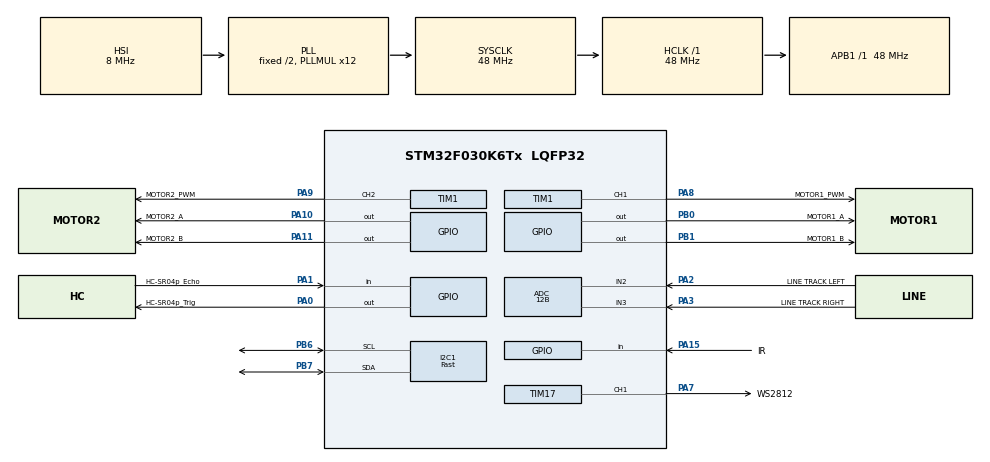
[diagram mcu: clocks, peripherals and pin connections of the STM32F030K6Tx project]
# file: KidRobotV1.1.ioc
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ADC.ContinuousConvMode=ENABLE
ADC.DMAContinuousRequests=ENABLE
ADC.Resolution=ADC_RESOLUTION_12B
ADC.SamplingTime=ADC_SAMPLETIME_71CYCLES_5
Dma.ADC.1.Direction=DMA_PERIPH_TO_MEMORY
Dma.ADC.1.Instance=DMA1_Channel2
Dma.ADC.1.MemDataAlignment=DMA_MDATAALIGN_HALFWORD
Dma.ADC.1.MemInc=DMA_MINC_ENABLE
Dma.ADC.1.Mode=DMA_CIRCULAR
Dma.ADC.1.PeriphDataAlignment=DMA_PDATAALIGN_HALFWORD
Dma.ADC.1.PeriphInc=DMA_PINC_DISABLE
Dma.ADC.1.Priority=DMA_PRIORITY_LOW
Dma.Request0=TIM17_CH1/UP
Dma.Request1=ADC
Dma.TIM17_CH1/UP.0.Direction=DMA_MEMORY_TO_PERIPH
Dma.TIM17_CH1/UP.0.Instance=DMA1_Channel1
Dma.TIM17_CH1/UP.0.MemDataAlignment=DMA_MDATAALIGN_HALFWORD
Dma.TIM17_CH1/UP.0.MemInc=DMA_MINC_ENABLE
Dma.TIM17_CH1/UP.0.Mode=DMA_NORMAL
Dma.TIM17_CH1/UP.0.PeriphDataAlignment=DMA_PDATAALIGN_HALFWORD
Dma.TIM17_CH1/UP.0.PeriphInc=DMA_PINC_DISABLE
Dma.TIM17_CH1/UP.0.Priority=DMA_PRIORITY_HIGH
I2C1.I2C_Speed_Mode=I2C_Fast
I2C1.OwnAddress=0x65
I2C1.Timing=0x2010091A
Mcu.Family=STM32F0
Mcu.Name=STM32F030K6Tx
Mcu.Package=LQFP32
NVIC.ADC1_IRQn=true\:0\:0\:false\:false\:true\:true\:true
NVIC.DMA1_Channel1_IRQn=true\:0\:0\:false\:false\:true\:false\:true
NVIC.DMA1_Channel2_3_IRQn=true\:0\:0\:false\:false\:true\:false\:true
NVIC.I2C1_IRQn=true\:0\:0\:false\:false\:true\:true\:true
NVIC.TIM17_IRQn=true\:0\:0\:false\:false\:true\:true\:true
NVIC.TIM3_IRQn=true\:0\:0\:false\:false\:true\:true\:true
PA0.GPIO_Label=HC-SR04p_Trig
PA0.Signal=GPIO_Output
PA1.GPIO_Label=HC-SR04p_Echo
PA1.GPIO_PuPd=GPIO_PULLDOWN
PA1.Signal=GPIO_Input
PA10.GPIO_Label=MOTOR2_A
PA10.Signal=GPIO_Output
PA11.GPIO_Label=MOTOR2_B
PA11.Signal=GPIO_Output
PA13.Mode=Serial_Wire
PA13.Signal=SYS_SWDIO
PA14.Mode=Serial_Wire
PA14.Signal=SYS_SWCLK
PA15.GPIO_Label=IR
PA15.GPIO_PuPd=GPIO_NOPULL
PA15.Signal=GPIO_Input
PA2.GPIO_Label=LINE TRACK LEFT
PA2.Mode=IN2
PA2.Signal=ADC_IN2
PA3.GPIO_Label=LINE TRACK RIGHT
PA3.Mode=IN3
PA3.Signal=ADC_IN3
PA7.GPIO_Label=WS2812
PA7.Signal=S_TIM17_CH1
PA8.GPIO_Label=MOTOR1_PWM
PA8.Signal=S_TIM1_CH1
PA9.GPIO_Label=MOTOR2_PWM
PA9.Signal=S_TIM1_CH2
PB0.GPIO_Label=MOTOR1_A
PB0.Signal=GPIO_Output
PB1.GPIO_Label=MOTOR1_B
PB1.Signal=GPIO_Output
PB6.Mode=I2C
PB6.Signal=I2C1_SCL
PB7.Mode=I2C
PB7.Signal=I2C1_SDA
ProjectManager.HeapSize=0x200
ProjectManager.StackSize=0x400
ProjectManager.TargetToolchain=MDK-ARM V5
RCC.AHBFreq_Value=48000000
RCC.APB1Freq_Value=48000000
RCC.APB1TimFreq_Value=48000000
RCC.HCLKFreq_Value=48000000
RCC.I2c1ClockSelection=RCC_I2C1CLKSOURCE_SYSCLK
RCC.PLLMUL=RCC_PLL_MUL12
RCC.SYSCLKFreq_VALUE=48000000
RCC.SYSCLKSource=RCC_SYSCLKSOURCE_PLLCLK
SH.S_TIM17_CH1.0=TIM17_CH1,PWM Generation1 CH1
SH.S_TIM1_CH1.0=TIM1_CH1,PWM Generation1 CH1
SH.S_TIM1_CH2.0=TIM1_CH2,PWM Generation2 CH2
TIM1.Channel-PWM\ Generation1\ CH1=TIM_CHANNEL_1
TIM1.Channel-PWM\ Generation2\ CH2=TIM_CHANNEL_2
TIM1.Period=100
TIM1.Prescaler=960-1
TIM17.AutoReloadPreload=TIM_AUTORELOAD_PRELOAD_ENABLE
TIM17.Channel=TIM_CHANNEL_1
TIM17.OCPolarity_1=TIM_OCPOLARITY_HIGH
TIM17.Period=60
TIM17.Pulse=60
TIM3.Channel-PWM\ Generation1\ No\ Output=TIM_CHANNEL_1
TIM3.Period=480
TIM3.Pulse-PWM\ Generation1\ No\ Output=480
VP_TIM17_VS_ClockSourceINT.Mode=Enable_Timer
VP_TIM3_VS_no_output1.Mode=PWM Generation1 No Output
board=custom

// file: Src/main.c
/* USER CODE BEGIN Header */
/**
  ******************************************************************************
  * @file           : main.c
  * @brief          : Main program body
  ******************************************************************************
  * @attention
  *
  * <h2><center>&copy; Copyright (c) 2019 STMicroelectronics.
  * All rights reserved.</center></h2>
  *
  * This software component is licensed by ST under BSD 3-Clause license,
  * the "License"; You may not use this file except in compliance with the
  * License. You may obtain a copy of the License at:
  *                        opensource.org/licenses/BSD-3-Clause
  *
  ******************************************************************************
  */
/* USER CODE END Header */

#include "main.h"

/* USER CODE BEGIN Includes */
#include <string.h>
/* USER CODE END Includes */

ADC_HandleTypeDef hadc;
DMA_HandleTypeDef hdma_adc;

I2C_HandleTypeDef hi2c1;

TIM_HandleTypeDef htim1;
TIM_HandleTypeDef htim3;
TIM_HandleTypeDef htim17;
DMA_HandleTypeDef hdma_tim17_ch1_up;

void SystemClock_Config(void);
static void MX_GPIO_Init(void);
static void MX_DMA_Init(void);
static void MX_I2C1_Init(void);
static void MX_TIM17_Init(void);
static void MX_TIM3_Init(void);
static void MX_TIM1_Init(void);
static void MX_ADC_Init(void);

/* USER CODE BEGIN 0 */
static void set_pwm(uint32_t, uint8_t) ;

static void ws2812b_set_color(int num, uint8_t r, uint8_t g, uint8_t b) ;
static void ws2812b_update(void) ;

#define WS2812B_NUMBER 6

struct {
	uint8_t r;
	uint8_t g;
	uint8_t b;
} ws2812b_data_color[WS2812B_NUMBER]; // 24 bit per 1 led
uint8_t ws2812b_sending_flag = 0;

uint8_t reg_offset = 0;
uint8_t reg_data[30];
uint8_t i2c_state = 0;

HAL_StatusTypeDef I2C_Slave_isr(struct __I2C_HandleTypeDef *hi2c, uint32_t ITFlags, uint32_t ITSources) {
	if (hi2c->Instance->ISR & (I2C_ISR_ADDR)) {
		/* Clear ADDR flag */
    __HAL_I2C_CLEAR_FLAG(hi2c, I2C_FLAG_ADDR);
	}

	if (hi2c->Instance->ISR & (I2C_ISR_RXNE)) {
		uint8_t data = hi2c->Instance->RXDR;
		if (i2c_state == 0) {
			reg_offset = data;
			i2c_state = 1;
		} else {
		  reg_data[reg_offset++] = hi2c->Instance->RXDR;
		}
	}

	if (hi2c->Instance->ISR & (I2C_ISR_TXIS)) {
		hi2c->Instance->TXDR = reg_data[reg_offset++];
	}

	if (reg_offset >= sizeof reg_data) {
		reg_offset = 0;
	}

	if (hi2c->Instance->ISR & (I2C_ISR_STOPF)) {
		__HAL_I2C_CLEAR_FLAG(hi2c, I2C_FLAG_STOPF);

    /* Clear ADDR flag */
    __HAL_I2C_CLEAR_FLAG(hi2c, I2C_FLAG_ADDR);

		// flush the transmit data register I2C_TXDR
		__HAL_I2C_CLEAR_FLAG(hi2c, I2C_FLAG_TXE);

		i2c_state = 0;
	}

	return HAL_OK;
}

// microsec
uint64_t microsec = 0;

// ADC state
static uint8_t i_loop = 0;

uint16_t adc_value[2] = { 0, 0 };

// IR
uint64_t ir_code = 0;
/* USER CODE END 0 */

int main(void)
{

  /* MCU Configuration--------------------------------------------------------*/

  /* Reset of all peripherals, Initializes the Flash interface and the Systick. */
  HAL_Init();

  /* Configure the system clock */
  SystemClock_Config();

  /* Initialize all configured peripherals */
  MX_GPIO_Init();
  MX_DMA_Init();
  MX_I2C1_Init();
  MX_TIM17_Init();
  MX_TIM3_Init();
  MX_TIM1_Init();
  MX_ADC_Init();
  /* USER CODE BEGIN 2 */

  // ====|| I2C Slave setup with interrupt ||====

  /* Enable Address Acknowledge */
  hi2c1.Instance->CR2 &= ~I2C_CR2_NACK;

  // Set isr function
  hi2c1.XferISR = I2C_Slave_isr;

  // Enable I2C interrup
  __HAL_I2C_ENABLE_IT(&hi2c1, I2C_IT_ADDRI | I2C_IT_STOPI | I2C_IT_TXI | I2C_IT_RXI);

  // ====|| END ||====

	// Start timer
	HAL_TIM_Base_Start_IT(&htim3);

	// Clean reg
	memset(reg_data, 0, sizeof reg_data);

	// Start ADC DMA
	HAL_ADC_Start_DMA(&hadc, (uint32_t*)adc_value, 2);

	HAL_Delay(100);

	// Reset WS2812B
	memset(ws2812b_data_color, 0, sizeof ws2812b_data_color);
	// ws2812b_update();
  /* USER CODE END 2 */

  /* Infinite loop */
  /* USER CODE BEGIN WHILE */
  while (1)
  {
		// Use to check MCU running
		i_loop++;

		// CH A
		HAL_GPIO_WritePin(MOTOR1_A_GPIO_Port, MOTOR1_A_Pin, reg_data[0] & 0x80 ? GPIO_PIN_SET : GPIO_PIN_RESET);
		HAL_GPIO_WritePin(MOTOR1_B_GPIO_Port, MOTOR1_B_Pin, reg_data[0] & 0x80 ? GPIO_PIN_RESET : GPIO_PIN_SET);
		set_pwm(TIM_CHANNEL_1, reg_data[0] & 0x7F);

		// CH B
		HAL_GPIO_WritePin(MOTOR2_A_GPIO_Port, MOTOR2_A_Pin, reg_data[1] & 0x80 ? GPIO_PIN_SET : GPIO_PIN_RESET);
		HAL_GPIO_WritePin(MOTOR2_B_GPIO_Port, MOTOR2_B_Pin, reg_data[1] & 0x80 ? GPIO_PIN_RESET : GPIO_PIN_SET);
		set_pwm(TIM_CHANNEL_2, reg_data[1] & 0x7F);

		// Write flag is set ?
		if ((ws2812b_sending_flag == 0) & (reg_data[14] & 0x01)) {
			ws2812b_set_color(0, reg_data[2], reg_data[3], reg_data[4]);
			ws2812b_set_color(1, reg_data[5], reg_data[6], reg_data[7]);
			ws2812b_set_color(2, reg_data[8], reg_data[9], reg_data[10]);
			ws2812b_set_color(3, reg_data[11], reg_data[12], reg_data[13]);
			ws2812b_update();
		} else if ((ws2812b_sending_flag == 1) & (reg_data[14] & 0x01)) {
		  // Set flag to low
			reg_data[14] &= ~(0x01);
		}

		// HC-SR04p
		static uint8_t hc_sr04_state = 0;
		static uint64_t start_microsec = 0, end_microsec = 0, start_wait_time = 0;
		if (reg_data[15] & 0x80) { // if trig flag is set
			if (hc_sr04_state == 0) {
				// Start trig
				HAL_GPIO_WritePin(HC_SR04p_Trig_GPIO_Port, HC_SR04p_Trig_Pin, 1);

				start_microsec = microsec;
				hc_sr04_state = 1;
			} else if (hc_sr04_state == 1) {
				if (microsec > (start_microsec + 10)) {
					// Set Trig to LOW
					HAL_GPIO_WritePin(HC_SR04p_Trig_GPIO_Port, HC_SR04p_Trig_Pin, 0);

					start_wait_time = microsec;
					hc_sr04_state = 2;
				}
			} else if (hc_sr04_state == 2) {
				if (HAL_GPIO_ReadPin(HC_SR04p_Echo_GPIO_Port, HC_SR04p_Echo_Pin) == 1) {
					start_microsec = microsec;
					hc_sr04_state = 3;
				} else {
					if (microsec > (start_wait_time + 100000)) { // over 100mS ?
						start_microsec = 0;
						end_microsec = 0;
						hc_sr04_state = 4;
					}
				}
			} else if (hc_sr04_state == 3) {
				if (HAL_GPIO_ReadPin(HC_SR04p_Echo_GPIO_Port, HC_SR04p_Echo_Pin) == 0) {
					end_microsec = microsec;
					hc_sr04_state = 4;
				} else {
					if (microsec > (start_microsec + 100000)) { // over 100mS ?
						start_microsec = 0;
						end_microsec = 0;
						hc_sr04_state = 4;
					}
				}
			} else if (hc_sr04_state == 4) {
				uint16_t distance = (float)(end_microsec - start_microsec) * 0.0173681 * 10.0;

				// Update in register
			  reg_data[15] = (reg_data[15]&0xF0)|(distance>>8);
				reg_data[16] = distance;

			  reg_data[15] &= ~(0x80);

				hc_sr04_state = 0;
			}
		}

		/*
		// LINE track update
		reg_data[17] = HAL_GPIO_ReadPin(LINE_TRACK_LEFT_GPIO_Port, LINE_TRACK_LEFT_Pin);
		reg_data[18] = HAL_GPIO_ReadPin(LINE_TRACK_RIGHT_GPIO_Port, LINE_TRACK_RIGHT_Pin);
		*/

		// LINE track update
		reg_data[17] = adc_value[0] * 255.0 / 4095.0;
		reg_data[18] = adc_value[1] * 255.0 / 4095.0;

		// IR
		static uint64_t wait_time = 0;
		if ((HAL_GPIO_ReadPin(IR_GPIO_Port, IR_Pin) == 0) && (microsec - wait_time) > 100) {
			uint8_t err = 0;
			uint64_t start_time;

			// Start ... LOW
			start_time = microsec;
			while(HAL_GPIO_ReadPin(IR_GPIO_Port, IR_Pin) == 0) {
				if ((microsec - start_time) > 5000) { // over 5mS
					err = 1;
					break;
				}
			}

			if (err) {
				wait_time = microsec;
				continue;
			}

			// Start ... HIGH
			start_time = microsec;
			while(HAL_GPIO_ReadPin(IR_GPIO_Port, IR_Pin) == 1) {
				if ((microsec - start_time) > 8000) { // over 8mS
					err = 1;
					break;
				}
			}

			if (err) {
				wait_time = microsec;
				continue;
			}

			if ((microsec - start_time) > 3000) {
				ir_code = 0;

				// loop data 32 bit
				for (int i=0;i<32;i++) {
					start_time = microsec;
					while(HAL_GPIO_ReadPin(IR_GPIO_Port, IR_Pin) == 0) {
						if ((microsec - start_time) > 3000) { // over 3mS
							err = 1;
							break;
						}
					}

					if (err) {
						wait_time = microsec;
						break;
					}

					start_time = microsec;
					while(HAL_GPIO_ReadPin(IR_GPIO_Port, IR_Pin) == 1) {
						if ((microsec - start_time) > 5000) { // over 5mS
							err = 1;
							break;
						}
					}

					if (err) {
						HAL_Delay(100); // delay 100mS
						break;
					}

					if ((microsec - start_time) > 1000) { // if over 1000uS
						ir_code |= (1UL << (31-i));   // write 1
					} else {
						ir_code &= ~(1UL << (31-i));  // write 0
					}
				}

				if (err) {
					continue;
				}
			}

			// Wait LOW of END
			start_time = microsec;
			while(HAL_GPIO_ReadPin(IR_GPIO_Port, IR_Pin) == 0) {
				if ((microsec - start_time) > 5000) { // over 5mS
					err = 1;
					break;
				}
			}

			if (err) {
				wait_time = microsec;
				continue;
			}

			switch(ir_code) {
				case 0xff18e7:
					reg_data[20] = 'F';
				  break;

				case 0xff4ab5:
					reg_data[20] = 'B';
				  break;

				case 0xff10ef:
					reg_data[20] = 'L';
				  break;

				case 0xff5aa5:
					reg_data[20] = 'R';
				  break;

				case 0xffa25d:
					reg_data[20] = '1';
				  break;

				case 0xff629d:
					reg_data[20] = '2';
				  break;

				case 0xffe21d:
					reg_data[20] = '3';
				  break;

				case 0xff22dd:
					reg_data[20] = '4';
				  break;

				case 0xff02fd:
					reg_data[20] = '5';
				  break;

				case 0xffc23d:
					reg_data[20] = '6';
				  break;

				case 0xffe01f:
					reg_data[20] = '7';
				  break;

				case 0xffa857:
					reg_data[20] = '8';
				  break;

				case 0xff906f:
					reg_data[20] = '9';
				  break;

				case 0xff6897:
					reg_data[20] = '*';
				  break;

				case 0xff9867:
					reg_data[20] = '0';
				  break;

				case 0xffb04f:
					reg_data[20] = '#';
				  break;

				case 0xff38c7:
					reg_data[20] = 'O';
				  break;

				default:
					reg_data[20] = 0;

			}
			wait_time = microsec;
		}

    /* USER CODE END WHILE */

  }
}

void SystemClock_Config(void)
{
  RCC_OscInitTypeDef RCC_OscInitStruct = {0};
  RCC_ClkInitTypeDef RCC_ClkInitStruct = {0};
  RCC_PeriphCLKInitTypeDef PeriphClkInit = {0};

  /** Initializes the CPU, AHB and APB busses clocks
  */
  RCC_OscInitStruct.OscillatorType = RCC_OSCILLATORTYPE_HSI|RCC_OSCILLATORTYPE_HSI14;
  RCC_OscInitStruct.HSIState = RCC_HSI_ON;
  RCC_OscInitStruct.HSI14State = RCC_HSI14_ON;
  RCC_OscInitStruct.HSICalibrationValue = RCC_HSICALIBRATION_DEFAULT;
  RCC_OscInitStruct.HSI14CalibrationValue = 16;
  RCC_OscInitStruct.PLL.PLLState = RCC_PLL_ON;
  RCC_OscInitStruct.PLL.PLLSource = RCC_PLLSOURCE_HSI;
  RCC_OscInitStruct.PLL.PLLMUL = RCC_PLL_MUL12;
  RCC_OscInitStruct.PLL.PREDIV = RCC_PREDIV_DIV1;
  if (HAL_RCC_OscConfig(&RCC_OscInitStruct) != HAL_OK)
  {
    Error_Handler();
  }
  /** Initializes the CPU, AHB and APB busses clocks
  */
  RCC_ClkInitStruct.ClockType = RCC_CLOCKTYPE_HCLK|RCC_CLOCKTYPE_SYSCLK
                              |RCC_CLOCKTYPE_PCLK1;
  RCC_ClkInitStruct.SYSCLKSource = RCC_SYSCLKSOURCE_PLLCLK;
  RCC_ClkInitStruct.AHBCLKDivider = RCC_SYSCLK_DIV1;
  RCC_ClkInitStruct.APB1CLKDivider = RCC_HCLK_DIV1;

  if (HAL_RCC_ClockConfig(&RCC_ClkInitStruct, FLASH_LATENCY_1) != HAL_OK)
  {
    Error_Handler();
  }
  PeriphClkInit.PeriphClockSelection = RCC_PERIPHCLK_I2C1;
  PeriphClkInit.I2c1ClockSelection = RCC_I2C1CLKSOURCE_SYSCLK;
  if (HAL_RCCEx_PeriphCLKConfig(&PeriphClkInit) != HAL_OK)
  {
    Error_Handler();
  }
}

static void MX_ADC_Init(void)
{

  ADC_ChannelConfTypeDef sConfig = {0};

  /** Configure the global features of the ADC (Clock, Resolution, Data Alignment and number of conversion)
  */
  hadc.Instance = ADC1;
  hadc.Init.ClockPrescaler = ADC_CLOCK_ASYNC_DIV1;
  hadc.Init.Resolution = ADC_RESOLUTION_12B;
  hadc.Init.DataAlign = ADC_DATAALIGN_RIGHT;
  hadc.Init.ScanConvMode = ADC_SCAN_DIRECTION_FORWARD;
  hadc.Init.EOCSelection = ADC_EOC_SINGLE_CONV;
  hadc.Init.LowPowerAutoWait = DISABLE;
  hadc.Init.LowPowerAutoPowerOff = DISABLE;
  hadc.Init.ContinuousConvMode = ENABLE;
  hadc.Init.DiscontinuousConvMode = DISABLE;
  hadc.Init.ExternalTrigConv = ADC_SOFTWARE_START;
  hadc.Init.ExternalTrigConvEdge = ADC_EXTERNALTRIGCONVEDGE_NONE;
  hadc.Init.DMAContinuousRequests = ENABLE;
  hadc.Init.Overrun = ADC_OVR_DATA_PRESERVED;
  if (HAL_ADC_Init(&hadc) != HAL_OK)
  {
    Error_Handler();
  }
  /** Configure for the selected ADC regular channel to be converted.
  */
  sConfig.Channel = ADC_CHANNEL_2;
  sConfig.Rank = ADC_RANK_CHANNEL_NUMBER;
  sConfig.SamplingTime = ADC_SAMPLETIME_71CYCLES_5;
  if (HAL_ADC_ConfigChannel(&hadc, &sConfig) != HAL_OK)
  {
    Error_Handler();
  }
  /** Configure for the selected ADC regular channel to be converted.
  */
  sConfig.Channel = ADC_CHANNEL_3;
  if (HAL_ADC_ConfigChannel(&hadc, &sConfig) != HAL_OK)
  {
    Error_Handler();
  }

}

static void MX_I2C1_Init(void)
{

  hi2c1.Instance = I2C1;
  hi2c1.Init.Timing = 0x2010091A;
  hi2c1.Init.OwnAddress1 = 202;
  hi2c1.Init.AddressingMode = I2C_ADDRESSINGMODE_7BIT;
  hi2c1.Init.DualAddressMode = I2C_DUALADDRESS_DISABLE;
  hi2c1.Init.OwnAddress2 = 0;
  hi2c1.Init.OwnAddress2Masks = I2C_OA2_NOMASK;
  hi2c1.Init.GeneralCallMode = I2C_GENERALCALL_DISABLE;
  hi2c1.Init.NoStretchMode = I2C_NOSTRETCH_DISABLE;
  if (HAL_I2C_Init(&hi2c1) != HAL_OK)
  {
    Error_Handler();
  }
  /** Configure Analogue filter
  */
  if (HAL_I2CEx_ConfigAnalogFilter(&hi2c1, I2C_ANALOGFILTER_ENABLE) != HAL_OK)
  {
    Error_Handler();
  }
  /** Configure Digital filter
  */
  if (HAL_I2CEx_ConfigDigitalFilter(&hi2c1, 0) != HAL_OK)
  {
    Error_Handler();
  }

}

static void MX_TIM1_Init(void)
{

  TIM_MasterConfigTypeDef sMasterConfig = {0};
  TIM_OC_InitTypeDef sConfigOC = {0};
  TIM_BreakDeadTimeConfigTypeDef sBreakDeadTimeConfig = {0};

  htim1.Instance = TIM1;
  htim1.Init.Prescaler = 960-1;
  htim1.Init.CounterMode = TIM_COUNTERMODE_UP;
  htim1.Init.Period = 100;
  htim1.Init.ClockDivision = TIM_CLOCKDIVISION_DIV1;
  htim1.Init.RepetitionCounter = 0;
  htim1.Init.AutoReloadPreload = TIM_AUTORELOAD_PRELOAD_DISABLE;
  if (HAL_TIM_PWM_Init(&htim1) != HAL_OK)
  {
    Error_Handler();
  }
  sMasterConfig.MasterOutputTrigger = TIM_TRGO_RESET;
  sMasterConfig.MasterSlaveMode = TIM_MASTERSLAVEMODE_DISABLE;
  if (HAL_TIMEx_MasterConfigSynchronization(&htim1, &sMasterConfig) != HAL_OK)
  {
    Error_Handler();
  }
  sConfigOC.OCMode = TIM_OCMODE_PWM1;
  sConfigOC.Pulse = 0;
  sConfigOC.OCPolarity = TIM_OCPOLARITY_HIGH;
  sConfigOC.OCNPolarity = TIM_OCNPOLARITY_HIGH;
  sConfigOC.OCFastMode = TIM_OCFAST_DISABLE;
  sConfigOC.OCIdleState = TIM_OCIDLESTATE_RESET;
  sConfigOC.OCNIdleState = TIM_OCNIDLESTATE_RESET;
  if (HAL_TIM_PWM_ConfigChannel(&htim1, &sConfigOC, TIM_CHANNEL_1) != HAL_OK)
  {
    Error_Handler();
  }
  if (HAL_TIM_PWM_ConfigChannel(&htim1, &sConfigOC, TIM_CHANNEL_2) != HAL_OK)
  {
    Error_Handler();
  }
  sBreakDeadTimeConfig.OffStateRunMode = TIM_OSSR_DISABLE;
  sBreakDeadTimeConfig.OffStateIDLEMode = TIM_OSSI_DISABLE;
  sBreakDeadTimeConfig.LockLevel = TIM_LOCKLEVEL_OFF;
  sBreakDeadTimeConfig.DeadTime = 0;
  sBreakDeadTimeConfig.BreakState = TIM_BREAK_DISABLE;
  sBreakDeadTimeConfig.BreakPolarity = TIM_BREAKPOLARITY_HIGH;
  sBreakDeadTimeConfig.AutomaticOutput = TIM_AUTOMATICOUTPUT_DISABLE;
  if (HAL_TIMEx_ConfigBreakDeadTime(&htim1, &sBreakDeadTimeConfig) != HAL_OK)
  {
    Error_Handler();
  }
  HAL_TIM_MspPostInit(&htim1);

}

static void MX_TIM3_Init(void)
{

  TIM_MasterConfigTypeDef sMasterConfig = {0};
  TIM_OC_InitTypeDef sConfigOC = {0};

  htim3.Instance = TIM3;
  htim3.Init.Prescaler = 0;
  htim3.Init.CounterMode = TIM_COUNTERMODE_UP;
  htim3.Init.Period = 480;
  htim3.Init.ClockDivision = TIM_CLOCKDIVISION_DIV1;
  htim3.Init.AutoReloadPreload = TIM_AUTORELOAD_PRELOAD_DISABLE;
  if (HAL_TIM_PWM_Init(&htim3) != HAL_OK)
  {
    Error_Handler();
  }
  sMasterConfig.MasterOutputTrigger = TIM_TRGO_RESET;
  sMasterConfig.MasterSlaveMode = TIM_MASTERSLAVEMODE_DISABLE;
  if (HAL_TIMEx_MasterConfigSynchronization(&htim3, &sMasterConfig) != HAL_OK)
  {
    Error_Handler();
  }
  sConfigOC.OCMode = TIM_OCMODE_PWM1;
  sConfigOC.Pulse = 480;
  sConfigOC.OCPolarity = TIM_OCPOLARITY_HIGH;
  sConfigOC.OCFastMode = TIM_OCFAST_DISABLE;
  if (HAL_TIM_PWM_ConfigChannel(&htim3, &sConfigOC, TIM_CHANNEL_1) != HAL_OK)
  {
    Error_Handler();
  }

}

static void MX_TIM17_Init(void)
{

  TIM_OC_InitTypeDef sConfigOC = {0};
  TIM_BreakDeadTimeConfigTypeDef sBreakDeadTimeConfig = {0};

  htim17.Instance = TIM17;
  htim17.Init.Prescaler = 0;
  htim17.Init.CounterMode = TIM_COUNTERMODE_UP;
  htim17.Init.Period = 60;
  htim17.Init.ClockDivision = TIM_CLOCKDIVISION_DIV1;
  htim17.Init.RepetitionCounter = 0;
  htim17.Init.AutoReloadPreload = TIM_AUTORELOAD_PRELOAD_ENABLE;
  if (HAL_TIM_Base_Init(&htim17) != HAL_OK)
  {
    Error_Handler();
  }
  if (HAL_TIM_PWM_Init(&htim17) != HAL_OK)
  {
    Error_Handler();
  }
  sConfigOC.OCMode = TIM_OCMODE_PWM1;
  sConfigOC.Pulse = 60;
  sConfigOC.OCPolarity = TIM_OCPOLARITY_HIGH;
  sConfigOC.OCNPolarity = TIM_OCNPOLARITY_HIGH;
  sConfigOC.OCFastMode = TIM_OCFAST_DISABLE;
  sConfigOC.OCIdleState = TIM_OCIDLESTATE_RESET;
  sConfigOC.OCNIdleState = TIM_OCNIDLESTATE_RESET;
  if (HAL_TIM_PWM_ConfigChannel(&htim17, &sConfigOC, TIM_CHANNEL_1) != HAL_OK)
  {
    Error_Handler();
  }
  sBreakDeadTimeConfig.OffStateRunMode = TIM_OSSR_DISABLE;
  sBreakDeadTimeConfig.OffStateIDLEMode = TIM_OSSI_DISABLE;
  sBreakDeadTimeConfig.LockLevel = TIM_LOCKLEVEL_OFF;
  sBreakDeadTimeConfig.DeadTime = 0;
  sBreakDeadTimeConfig.BreakState = TIM_BREAK_DISABLE;
  sBreakDeadTimeConfig.BreakPolarity = TIM_BREAKPOLARITY_HIGH;
  sBreakDeadTimeConfig.AutomaticOutput = TIM_AUTOMATICOUTPUT_DISABLE;
  if (HAL_TIMEx_ConfigBreakDeadTime(&htim17, &sBreakDeadTimeConfig) != HAL_OK)
  {
    Error_Handler();
  }
  HAL_TIM_MspPostInit(&htim17);

}

static void MX_DMA_Init(void)
{
  /* DMA controller clock enable */
  __HAL_RCC_DMA1_CLK_ENABLE();

  /* DMA interrupt init */
  /* DMA1_Channel1_IRQn interrupt configuration */
  HAL_NVIC_SetPriority(DMA1_Channel1_IRQn, 0, 0);
  HAL_NVIC_EnableIRQ(DMA1_Channel1_IRQn);
  /* DMA1_Channel2_3_IRQn interrupt configuration */
  HAL_NVIC_SetPriority(DMA1_Channel2_3_IRQn, 0, 0);
  HAL_NVIC_EnableIRQ(DMA1_Channel2_3_IRQn);

}

static void MX_GPIO_Init(void)
{
  GPIO_InitTypeDef GPIO_InitStruct = {0};

  /* GPIO Ports Clock Enable */
  __HAL_RCC_GPIOA_CLK_ENABLE();
  __HAL_RCC_GPIOB_CLK_ENABLE();

  /*Configure GPIO pin Output Level */
  HAL_GPIO_WritePin(GPIOA, HC_SR04p_Trig_Pin|MOTOR2_A_Pin|MOTOR2_B_Pin, GPIO_PIN_RESET);

  /*Configure GPIO pin Output Level */
  HAL_GPIO_WritePin(GPIOB, MOTOR1_A_Pin|MOTOR1_B_Pin, GPIO_PIN_RESET);

  /*Configure GPIO pins : HC_SR04p_Trig_Pin MOTOR2_A_Pin MOTOR2_B_Pin */
  GPIO_InitStruct.Pin = HC_SR04p_Trig_Pin|MOTOR2_A_Pin|MOTOR2_B_Pin;
  GPIO_InitStruct.Mode = GPIO_MODE_OUTPUT_PP;
  GPIO_InitStruct.Pull = GPIO_NOPULL;
  GPIO_InitStruct.Speed = GPIO_SPEED_FREQ_LOW;
  HAL_GPIO_Init(GPIOA, &GPIO_InitStruct);

  /*Configure GPIO pin : HC_SR04p_Echo_Pin */
  GPIO_InitStruct.Pin = HC_SR04p_Echo_Pin;
  GPIO_InitStruct.Mode = GPIO_MODE_INPUT;
  GPIO_InitStruct.Pull = GPIO_PULLDOWN;
  HAL_GPIO_Init(HC_SR04p_Echo_GPIO_Port, &GPIO_InitStruct);

  /*Configure GPIO pins : MOTOR1_A_Pin MOTOR1_B_Pin */
  GPIO_InitStruct.Pin = MOTOR1_A_Pin|MOTOR1_B_Pin;
  GPIO_InitStruct.Mode = GPIO_MODE_OUTPUT_PP;
  GPIO_InitStruct.Pull = GPIO_NOPULL;
  GPIO_InitStruct.Speed = GPIO_SPEED_FREQ_LOW;
  HAL_GPIO_Init(GPIOB, &GPIO_InitStruct);

  /*Configure GPIO pin : IR_Pin */
  GPIO_InitStruct.Pin = IR_Pin;
  GPIO_InitStruct.Mode = GPIO_MODE_INPUT;
  GPIO_InitStruct.Pull = GPIO_NOPULL;
  HAL_GPIO_Init(IR_GPIO_Port, &GPIO_InitStruct);

}

/* USER CODE BEGIN 4 */
static void set_pwm(uint32_t Channel, uint8_t value) {
  TIM_OC_InitTypeDef sConfigOC = {0};

  sConfigOC.OCMode = TIM_OCMODE_PWM1;
  sConfigOC.Pulse = (uint32_t)value;
  sConfigOC.OCPolarity = TIM_OCPOLARITY_HIGH;
  sConfigOC.OCFastMode = TIM_OCFAST_DISABLE;
  HAL_TIM_PWM_ConfigChannel(&htim1, &sConfigOC, Channel);
	HAL_TIM_PWM_Start(&htim1, Channel);
}

static void ws2812b_set_color(int num, uint8_t r, uint8_t g, uint8_t b) {
	ws2812b_data_color[num].r = r;
	ws2812b_data_color[num].g = g;
	ws2812b_data_color[num].b = b;
}

static void ws2812b_update(void) {
	uint32_t bit0_period = 13;
	uint32_t bit1_period = 40;

	uint32_t tData[50 + (24 * WS2812B_NUMBER)];
	memset(tData, 0, 50);

	for (int color_inx=0;color_inx<WS2812B_NUMBER;color_inx++) {
		uint8_t r = ws2812b_data_color[color_inx].r;
		uint8_t g = ws2812b_data_color[color_inx].g;
		uint8_t b = ws2812b_data_color[color_inx].b;

		int offset = 50 + (color_inx * 24);

		tData[offset + 0] = (g & (1<<7)) ? bit1_period : bit0_period;
		tData[offset + 1] = (g & (1<<6)) ? bit1_period : bit0_period;
		tData[offset + 2] = (g & (1<<5)) ? bit1_period : bit0_period;
		tData[offset + 3] = (g & (1<<4)) ? bit1_period : bit0_period;
		tData[offset + 4] = (g & (1<<3)) ? bit1_period : bit0_period;
		tData[offset + 5] = (g & (1<<2)) ? bit1_period : bit0_period;
		tData[offset + 6] = (g & (1<<1)) ? bit1_period : bit0_period;
		tData[offset + 7] = (g & (1<<0)) ? bit1_period : bit0_period;

		tData[offset + 8] = (r & (1<<7)) ? bit1_period : bit0_period;
		tData[offset + 9] = (r & (1<<6)) ? bit1_period : bit0_period;
		tData[offset + 10] = (r & (1<<5)) ? bit1_period : bit0_period;
		tData[offset + 11] = (r & (1<<4)) ? bit1_period : bit0_period;
		tData[offset + 12] = (r & (1<<3)) ? bit1_period : bit0_period;
		tData[offset + 13] = (r & (1<<2)) ? bit1_period : bit0_period;
		tData[offset + 14] = (r & (1<<1)) ? bit1_period : bit0_period;
		tData[offset + 15] = (r & (1<<0)) ? bit1_period : bit0_period;

		tData[offset + 16] = (b & (1<<7)) ? bit1_period : bit0_period;
		tData[offset + 17] = (b & (1<<6)) ? bit1_period : bit0_period;
		tData[offset + 18] = (b & (1<<5)) ? bit1_period : bit0_period;
		tData[offset + 19] = (b & (1<<4)) ? bit1_period : bit0_period;
		tData[offset + 20] = (b & (1<<3)) ? bit1_period : bit0_period;
		tData[offset + 21] = (b & (1<<2)) ? bit1_period : bit0_period;
		tData[offset + 22] = (b & (1<<1)) ? bit1_period : bit0_period;
		tData[offset + 23] = (b & (1<<0)) ? bit1_period : bit0_period;
	}

	TIM_OC_InitTypeDef sConfig;
	sConfig.OCMode = TIM_OCMODE_PWM1;
	sConfig.OCPolarity = TIM_OCPOLARITY_HIGH;
	sConfig.OCFastMode = TIM_OCFAST_DISABLE;
	sConfig.OCIdleState = TIM_OCIDLESTATE_RESET;
	//sConfig.Pulse        = 0;
	HAL_TIM_PWM_ConfigChannel(&htim17, &sConfig, TIM_CHANNEL_1);

	HAL_TIM_PWM_Start_DMA(&htim17, TIM_CHANNEL_1, tData, sizeof tData);

	ws2812b_sending_flag = 1;
}

void HAL_TIM_PWM_PulseFinishedCallback(TIM_HandleTypeDef *htim) {
	/*
  TIM_OC_InitTypeDef sConfigOC = {0};

  sConfigOC.OCMode = TIM_OCMODE_PWM1;
  sConfigOC.Pulse = 0;
  sConfigOC.OCPolarity = TIM_OCPOLARITY_HIGH;
  sConfigOC.OCFastMode = TIM_OCFAST_DISABLE;
	sConfigOC.OCIdleState = TIM_OCIDLESTATE_RESET;
  HAL_TIM_PWM_ConfigChannel(&htim17, &sConfigOC, TIM_CHANNEL_1);
	HAL_TIM_PWM_Start(&htim17, TIM_CHANNEL_1);
	*/

	htim17.Instance->CCR1 = 0;

	ws2812b_sending_flag = 0;
}

/* USER CODE END 4 */

void Error_Handler(void)
{
}

/************************ (C) COPYRIGHT STMicroelectronics *****END OF FILE****/
